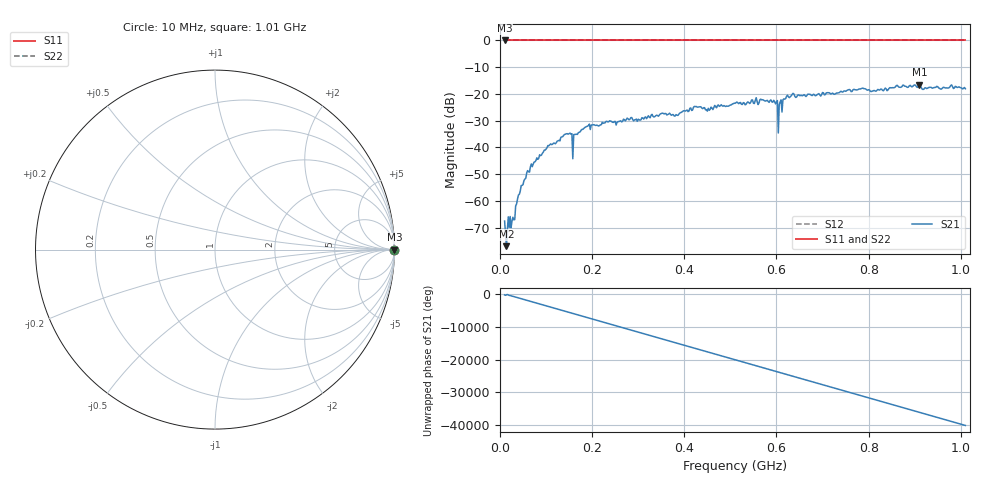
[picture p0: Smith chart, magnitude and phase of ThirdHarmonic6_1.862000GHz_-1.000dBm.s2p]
! 8/16/2025 10:31:09 PM
! C:\ANRITSUVNA\TEMP\TEMP.S2P
! CHANNEL.1
! TR.MEASUREMENT
! RAW.DATA
! RF.CORRECTION.OFF
! AVERAGING.OFF
! IF.BANDWIDTH: 5KHZ
! SWEEPTYPE:  FREQ.SWEEP(Linear)
! Reference Plane Port Info
! PORT:  PORT1  PORT2
! DISTANCE:  0  m  0  m
! TIME:  0  s  0  s
! PHASE.OFFSET:  0  deg.  0  deg.
! LOSS:  0  dB  0  dB
! REF.LOSS:  0  dB  0  dB
! REF.FREQ:  0  Hz  0  Hz
! Power Info
! POWER:  -20  dBm  -20  dBm
! EFF.POWER:  -20  dBm  -20  dBm
! SOURCE.ATTEN:  0  dB  0  dB
! TEST.ATTEN:  0  dB  0  dB
# GHZ S RI R 50.0
! FREQ.GHZ  S11RE  S11IM  S21RE  S21IM  S12RE  S12IM  S22RE  S22IM
!; PortSelection: Port_12
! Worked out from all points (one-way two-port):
!   501 points, 10 MHz to 1.01 GHz, reference 50 ohm
!   highest |S21| = -16.57 dB at 910 MHz (marker M1); lowest = -76.9 dB at 14 MHz (marker M2)
!   lowest |S11| = 0.0 dB at 10 MHz (marker M3)
!   |S11| at or under -10 dB: nowhere
!   |S22| runs from 0.0 to 0.0 dB; largest |S21 - S12| = 1.1
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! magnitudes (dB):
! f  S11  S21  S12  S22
! 10 MHz  0.0  -67.5  0.0  0.0
! 14 MHz  0.0  -76.9  0.0  0.0
! 28 MHz  0.0  -66.1  0.0  0.0
! 44 MHz  0.0  -56.3  0.0  0.0
! 70 MHz  0.0  -47.2  0.0  0.0
! 106 MHz  0.0  -39.3  0.0  0.0
! 144 MHz  0.0  -34.9  0.0  0.0
! 162 MHz  0.0  -35.1  0.0  0.0
! 164 MHz  0.0  -35.1  0.0  0.0
! 178 MHz  0.0  -33.3  0.0  0.0
! 234 MHz  0.0  -30.4  0.0  0.0
! 344 MHz  0.0  -28.3  0.0  0.0
! 510 MHz  0.0  -23.5  0.0  0.0
! 590 MHz  0.0  -23.0  0.0  0.0
! 598 MHz  0.0  -23.7  0.0  0.0
! 608 MHz  0.0  -23.0  0.0  0.0
! 610 MHz  0.0  -22.2  0.0  0.0
! 620 MHz  0.0  -21.7  0.0  0.0
! 678 MHz  0.0  -20.6  0.0  0.0
! 844 MHz  0.0  -18.0  0.0  0.0
! 910 MHz  0.0  -16.6  0.0  0.0
! 1.01 GHz  0.0  -18.1  0.0  0.0
